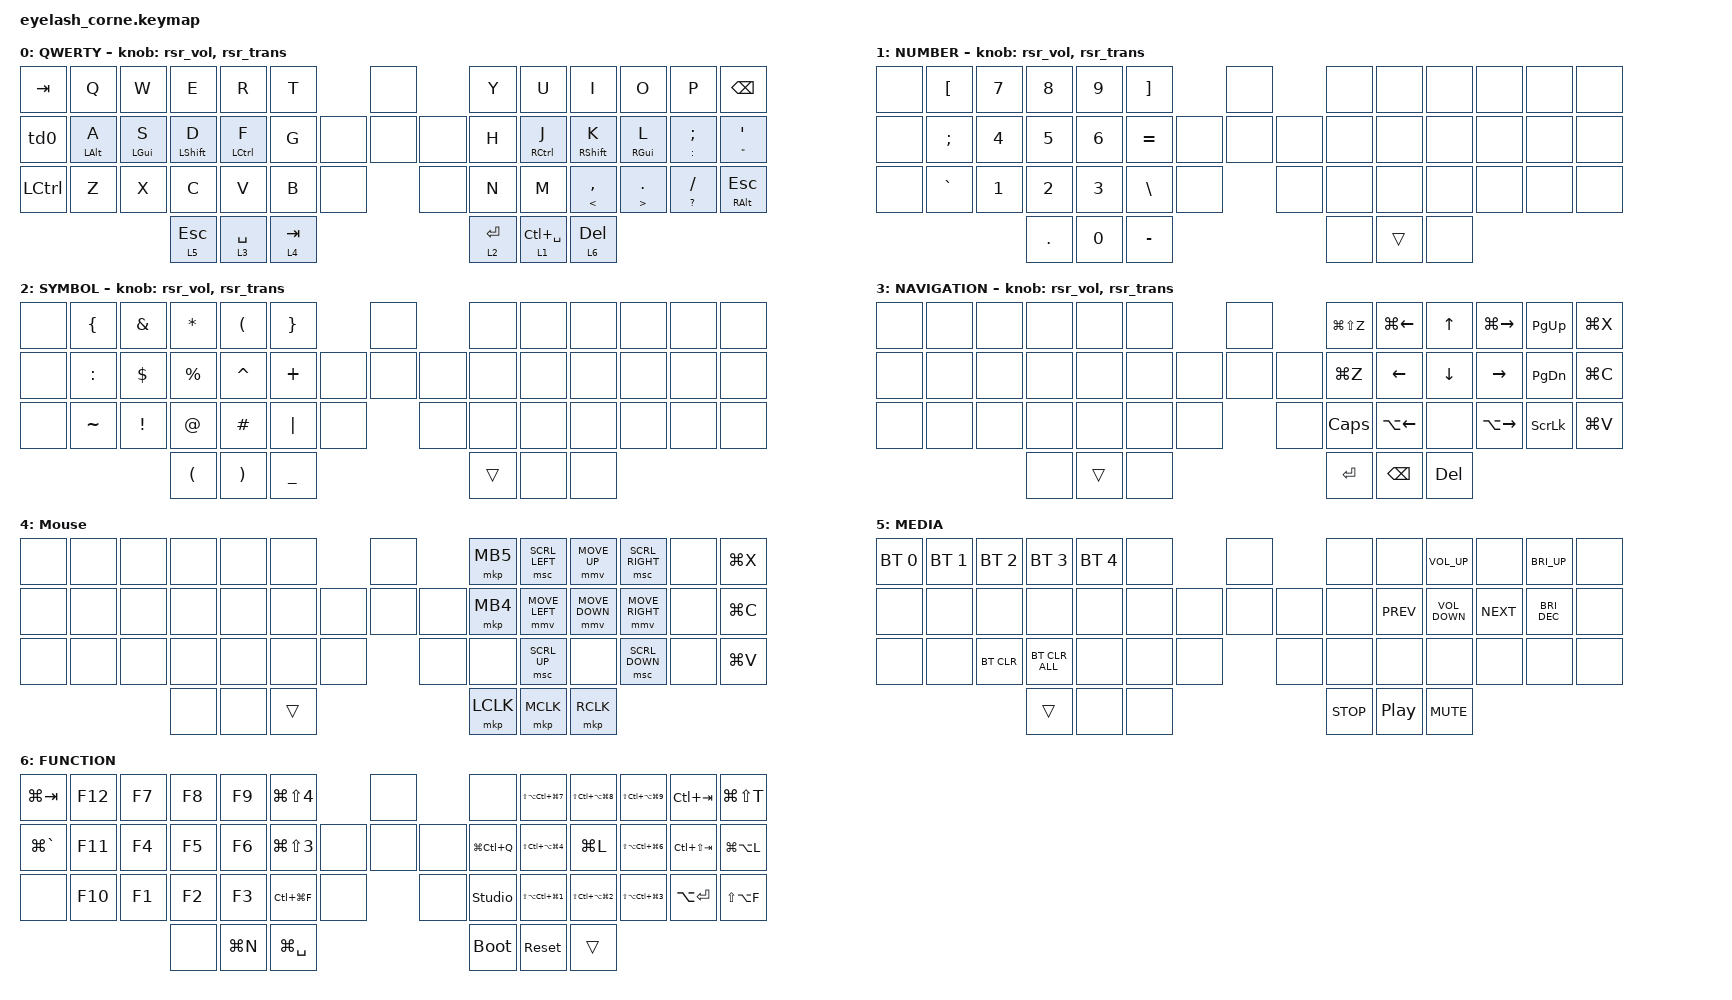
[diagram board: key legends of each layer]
#define ZMK_POINTING_DEFAULT_MOVE_VAL 1200  // 600
#define ZMK_POINTING_DEFAULT_SCRL_VAL 25   // 10

#include <input/processors.dtsi>
#include <zephyr/dt-bindings/input/input-event-codes.h>
#include <behaviors/runtime-sensor-rotate.dtsi>
#include <behaviors.dtsi>
#include <dt-bindings/zmk/bt.h>
#include <dt-bindings/zmk/keys.h>
#include <dt-bindings/zmk/pointing.h>

&soft_off { hold-time-ms = <2000>; };

&mt {
    tapping-term-ms = <300>;
    flavor = "tap-preferred";
    quick-tap-ms = <170>;
};

/ {
    behaviors {
        td0: td0 {
            compatible = "zmk,behavior-tap-dance";
            display-name = "Shift/Caps Lock Tap Dance";
            #binding-cells = <0>;
            bindings = <&kp LEFT_SHIFT>, <&kp CAPS>;
        };

        rsr_vol: rsr_vol {
            compatible = "zmk,behavior-runtime-sensor-rotate";
            #sensor-binding-cells = <0>;
            tap-ms = <5>;
            cw-binding = <&kp C_VOL_UP>;
            ccw-binding = <&kp C_VOL_DN>;
        };

        rsr_trans: rsr_trans {
            compatible = "zmk,behavior-runtime-sensor-rotate";
            #sensor-binding-cells = <0>;
            tap-ms = <0>;
        };

        Custom_combi: Custom_combi {
            compatible = "zmk,behavior-hold-tap";
            label = "CUSTOM_COMBI";
            #binding-cells = <2>;
            bindings = <&kp>, <&kp>;

            tapping-term-ms = <500>;
            flavor = "balanced";
        };
    };

    combos {
        compatible = "zmk,combos";

        softoff {
            bindings = <&soft_off>;
            key-positions = <1 15 29>;
        };
    };

    keymap {
        compatible = "zmk,keymap";

        default_layer {
            display-name = "QWERTY";
            bindings = <
&kp TAB    &kp Q           &kp W           &kp E             &kp R               &kp T                      &none         &kp Y        &kp U                &kp I                          &kp O                              &kp P                         &kp BSPC
&td0       &mt LEFT_ALT A  &mt LEFT_GUI S  &mt LEFT_SHIFT D  &mt LEFT_CONTROL F  &kp G               &none  &none  &none  &kp H        &mt RIGHT_CONTROL J  &mt RIGHT_SHIFT K              &mt RIGHT_GUI L                    &Custom_combi COLON SEMI      &Custom_combi DOUBLE_QUOTES SINGLE_QUOTE
&kp LCTRL  &kp Z           &kp X           &kp C             &kp V               &kp B      &none           &none         &kp N        &kp M                &Custom_combi LESS_THAN COMMA  &Custom_combi GREATER_THAN PERIOD  &Custom_combi QUESTION SLASH  &mt RIGHT_ALT ESCAPE
                                           &lt 5 ESCAPE      &lt 3 SPACE         &lt 4 TAB                                &lt 2 ENTER  &lt 1 LC(SPACE)      &lt 6 DEL
            >;

            sensor-bindings = <&rsr_vol &rsr_trans>;
        };

        Num_layer {
            display-name = "NUMBER";
            bindings = <
&none  &kp LBKT   &kp N7  &kp N8   &kp N9  &kp RBKT                   &none         &none  &none   &none  &none  &none  &none
&none  &kp SEMI   &kp N4  &kp N5   &kp N6  &kp EQUAL           &none  &none  &none  &none  &none   &none  &none  &none  &none
&none  &kp GRAVE  &kp N1  &kp N2   &kp N3  &kp BSLH   &none           &none         &none  &none   &none  &none  &none  &none
                          &kp DOT  &kp N0  &kp MINUS                                &none  &trans  &none
            >;

            sensor-bindings = <&rsr_vol &rsr_trans>;
        };

        Sym_layer {
            display-name = "SYMBOL";
            bindings = <
&none  &kp LEFT_BRACE  &kp AMPERSAND    &kp ASTERISK          &kp LEFT_PARENTHESIS   &kp RIGHT_BRACE                  &none         &none   &none  &none  &none  &none  &none
&none  &kp COLON       &kp DOLLAR       &kp PERCENT           &kp CARET              &kp PLUS                  &none  &none  &none  &none   &none  &none  &none  &none  &none
&none  &kp TILDE       &kp EXCLAMATION  &kp AT_SIGN           &kp HASH               &kp PIPE         &none           &none         &none   &none  &none  &none  &none  &none
                                        &kp LEFT_PARENTHESIS  &kp RIGHT_PARENTHESIS  &kp UNDERSCORE                                 &trans  &none  &none
            >;

            sensor-bindings = <&rsr_vol &rsr_trans>;
        };

        Nav_Layer {
            display-name = "NAVIGATION";
            bindings = <
&none  &none  &none  &none  &none   &none                  &none         &kp LG(LS(Z))  &kp LG(LEFT)   &kp UP_ARROW  &kp LG(RIGHT)  &kp PAGE_UP     &kp LG(X)
&none  &none  &none  &none  &none   &none           &none  &none  &none  &kp LG(Z)      &kp LEFT       &kp DOWN      &kp RIGHT      &kp PAGE_DOWN   &kp LG(C)
&none  &none  &none  &none  &none   &none  &none           &none         &kp CLCK       &kp LA(LEFT)   &none         &kp LA(RIGHT)  &kp SCROLLLOCK  &kp LG(V)
                     &none  &trans  &none                                &kp ENTER      &kp BACKSPACE  &kp DEL
            >;

            sensor-bindings = <&rsr_vol &rsr_trans>;
        };

        Mouse_Layer {
            bindings = <
&none  &none  &none  &none  &none  &none                   &none         &mkp MB5   &msc SCRL_LEFT  &mmv MOVE_UP    &msc SCRL_RIGHT  &none  &kp LG(X)
&none  &none  &none  &none  &none  &none            &none  &none  &none  &mkp MB4   &mmv MOVE_LEFT  &mmv MOVE_DOWN  &mmv MOVE_RIGHT  &none  &kp LG(C)
&none  &none  &none  &none  &none  &none   &none           &none         &none      &msc SCRL_UP    &none           &msc SCRL_DOWN   &none  &kp LG(V)
                     &none  &none  &trans                                &mkp LCLK  &mkp MCLK       &mkp RCLK
            >;

            label = "Mouse";
        };

        Med_Layer {
            bindings = <
&bt BT_SEL 0  &bt BT_SEL 1  &bt BT_SEL 2  &bt BT_SEL 3    &bt BT_SEL 4  &none                  &none         &none       &none             &kp C_VOL_UP       &none       &kp C_BRI_UP   &none
&none         &none         &none         &none           &none         &none           &none  &none  &none  &none       &kp C_PREV        &kp C_VOLUME_DOWN  &kp C_NEXT  &kp C_BRI_DEC  &none
&none         &none         &bt BT_CLR    &bt BT_CLR_ALL  &none         &none  &none           &none         &none       &none             &none              &none       &none          &none
                                          &trans          &none         &none                                &kp C_STOP  &kp C_PLAY_PAUSE  &kp C_MUTE
            >;

            label = "MEDIA";
        };

        Func_Layer {
            bindings = <
&kp LG(TAB)    &kp F12  &kp F7  &kp F8  &kp F9     &kp LG(LS(NUMBER_4))                  &none         &none           &kp LS(LA(LC(LG(N7))))        &kp LS(LC(LA(LG(N8))))        &kp LS(LC(LA(LG(N9))))        &kp LC(TAB)      &kp LG(LS(T))
&kp LG(GRAVE)  &kp F11  &kp F4  &kp F5  &kp F6     &kp LG(LS(NUMBER_3))           &none  &none  &none  &kp LG(LC(Q))   &kp LS(LC(LA(LG(NUMBER_4))))  &kp LG(L)                     &kp LS(LA(LC(LG(NUMBER_6))))  &kp LC(LS(TAB))  &kp LG(LA(L))
&none          &kp F10  &kp F1  &kp F2  &kp F3     &kp LC(LG(F))         &none           &none         &studio_unlock  &kp LS(LA(LC(LG(NUMBER_1))))  &kp LS(LC(LA(LG(NUMBER_2))))  &kp LS(LA(LC(LG(NUMBER_3))))  &kp LA(ENTER)    &kp LS(LA(F))
                                &none   &kp LG(N)  &kp LG(SPACE)                                       &bootloader     &sys_reset                    &trans
            >;

            label = "FUNCTION";
        };
    };
};
